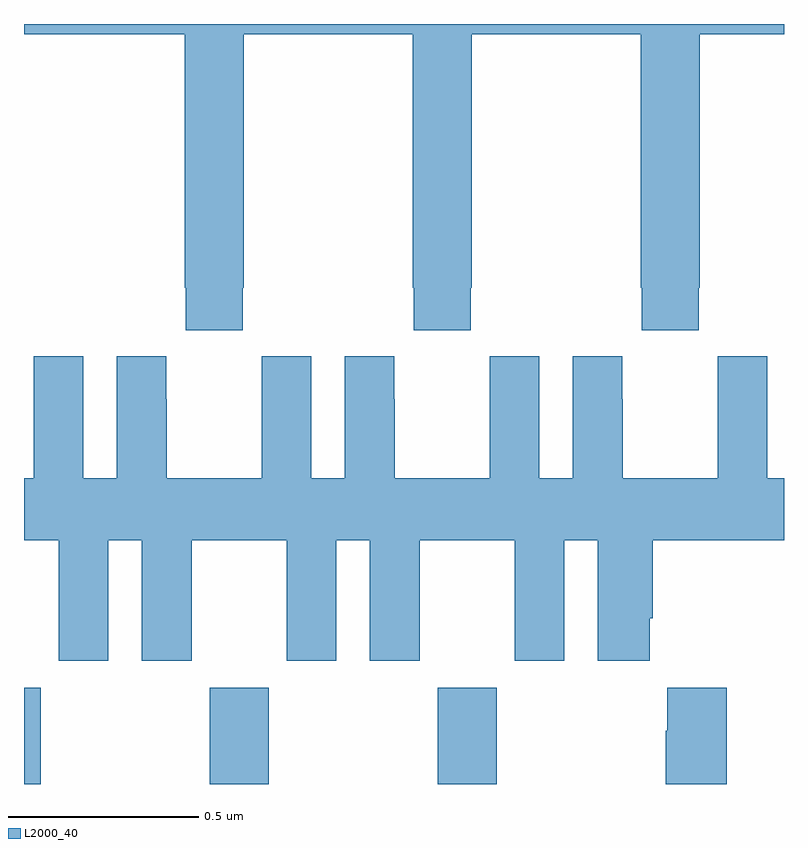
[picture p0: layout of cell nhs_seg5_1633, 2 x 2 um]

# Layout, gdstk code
import gdstk
lib = gdstk.Library(unit=1e-6, precision=1e-09)
def R(c, l, rs):  # rectangles x0, y0, x1, y1
    for r in rs: c.add(gdstk.rectangle(r[:2], r[2:], *l))
def P(c, l, *ps):  # polygons
    for p in ps: c.add(gdstk.Polygon(p, *l))
L2000_40 = (2000, 40)

nhs_seg5_1633 = lib.new_cell('nhs_seg5_1633')
R(nhs_seg5_1633, L2000_40, [(133,842.799,133.044,843.052), (133.489,842.799,133.644,843.052), (134.089,842.799,134.244,843.052)])
P(nhs_seg5_1633, L2000_40, [(133.575,844.105),(133.578,844.105),(133.578,844.772),(134.023,844.772),(134.023,844.105),(134.025,844.105),(134.025,843.993),(134.175,843.993),(134.175,844.105),(134.178,844.105),(134.178,844.772),(134.623,844.772),(134.623,844.105),(134.625,844.105),(134.625,843.993),(134.775,843.993),(134.775,844.105),(134.778,844.105),(134.778,844.772),(135,844.772),(135,844.799),(133,844.799),(133,844.772),(133.423,844.772),(133.423,844.105),(133.425,844.105),(133.425,843.993),(133.575,843.993)],
  [(133.844,843.925),(133.844,843.604),(133.756,843.604),(133.756,843.925),(133.626,843.925),(133.626,843.812),(133.625,843.812),(133.625,843.604),(133.375,843.604),(133.375,843.812),(133.374,843.812),(133.374,843.925),(133.244,843.925),(133.244,843.604),(133.156,843.604),(133.156,843.925),(133.026,843.925),(133.026,843.812),(133.025,843.812),(133.025,843.604),(133,843.604),(133,843.44),(133.091,843.44),(133.091,843.123),(133.222,843.123),(133.222,843.44),(133.31,843.44),(133.31,843.123),(133.441,843.123),(133.441,843.44),(133.691,843.44),(133.691,843.123),(133.822,843.123),(133.822,843.44),(133.91,843.44),(133.91,843.123),(134.041,843.123),(134.041,843.44),(134.291,843.44),(134.291,843.123),(134.422,843.123),(134.422,843.44),(134.51,843.44),(134.51,843.123),(134.647,843.123),(134.647,843.235),(134.654,843.235),(134.654,843.44),(135,843.44),(135,843.604),(134.956,843.604),(134.956,843.925),(134.826,843.925),(134.826,843.812),(134.825,843.812),(134.825,843.604),(134.575,843.604),(134.575,843.812),(134.574,843.812),(134.574,843.925),(134.444,843.925),(134.444,843.604),(134.356,843.604),(134.356,843.925),(134.226,843.925),(134.226,843.812),(134.225,843.812),(134.225,843.604),(133.975,843.604),(133.975,843.812),(133.974,843.812),(133.974,843.925)],
  [(134.849,843.052),(134.693,843.052),(134.693,842.939),(134.689,842.939),(134.689,842.799),(134.849,842.799)])

lib.write_gds('nhs_seg5_1633.gds')
